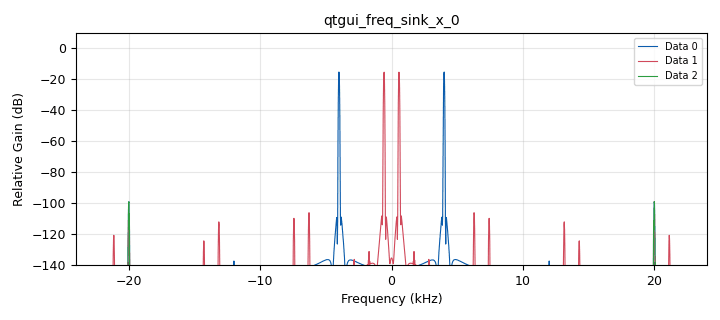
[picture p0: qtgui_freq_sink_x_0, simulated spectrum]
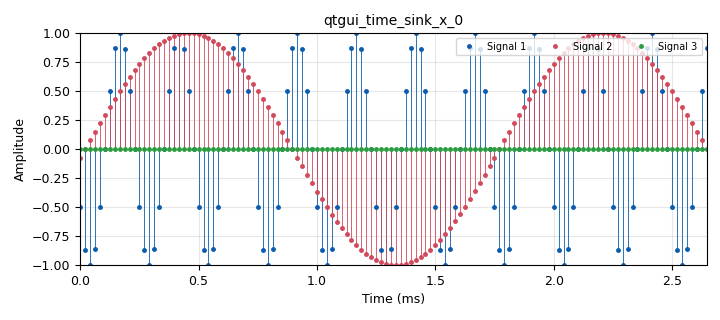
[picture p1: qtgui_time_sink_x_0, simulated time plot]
options:
  parameters:
    author: Brayan_Fonseca_J1B_G5
    generate_options: qt_gui
    id: lab2_comu1_punto_5
    output_language: python
    title: lab2_comu1_punto5
  states: {}

blocks:
- name: freq
  id: variable_qtgui_range
  parameters:
    label: frecuencia
    start: '1000'
    step: '1000'
    stop: '40000'
    value: '4000'
  states: {}
- name: samp_rate
  id: variable
  parameters:
    value: '48000'
  states: {}
- name: analog_sig_source_x_0
  id: analog_sig_source_x
  parameters:
    amp: '1'
    freq: '4000'
    offset: '0'
    phase: '0'
    samp_rate: samp_rate
    type: float
    waveform: analog.GR_COS_WAVE
  states: {}
- name: analog_sig_source_x_0_0
  id: analog_sig_source_x
  parameters:
    amp: '1'
    freq: '4000'
    offset: '0'
    phase: '0'
    samp_rate: samp_rate
    type: float
    waveform: analog.GR_COS_WAVE
  states: {}
- name: analog_sig_source_x_0_1
  id: analog_sig_source_x
  parameters:
    amp: '1'
    freq: '4000'
    offset: '0'
    phase: '0'
    samp_rate: samp_rate
    type: float
    waveform: analog.GR_COS_WAVE
  states: {}
- name: blocks_throttle_0
  id: blocks_throttle
  parameters:
    samples_per_second: samp_rate
    type: float
  states: {}
- name: qtgui_freq_sink_x_0
  id: qtgui_freq_sink_x
  parameters:
    bw: samp_rate
    fc: '0'
    fftsize: '2048'
    nconnections: '3'
    type: float
  states: {}
- name: qtgui_time_sink_x_0
  id: qtgui_time_sink_x
  parameters:
    grid: 'True'
    marker1: '0'
    marker2: '0'
    marker3: '0'
    nconnections: '3'
    size: '128'
    srate: samp_rate
    stemplot: 'True'
    type: float
  states: {}
- name: rational_resampler_xxx_0
  id: rational_resampler_xxx
  parameters:
    decim: '1'
    interp: '1'
    type: fff
  states: {}
- name: rational_resampler_xxx_1
  id: rational_resampler_xxx
  parameters:
    decim: '1'
    interp: '7'
    type: fff
  states: {}
- name: rational_resampler_xxx_2
  id: rational_resampler_xxx
  parameters:
    decim: '7'
    interp: '1'
    type: fff
  states: {}

connections:
- [analog_sig_source_x_0, '0', rational_resampler_xxx_0, '0']
- [analog_sig_source_x_0_0, '0', rational_resampler_xxx_1, '0']
- [analog_sig_source_x_0_1, '0', rational_resampler_xxx_2, '0']
- [blocks_throttle_0, '0', qtgui_freq_sink_x_0, '0']
- [blocks_throttle_0, '0', qtgui_time_sink_x_0, '0']
- [rational_resampler_xxx_0, '0', blocks_throttle_0, '0']
- [rational_resampler_xxx_1, '0', qtgui_freq_sink_x_0, '1']
- [rational_resampler_xxx_1, '0', qtgui_time_sink_x_0, '1']
- [rational_resampler_xxx_2, '0', qtgui_freq_sink_x_0, '2']
- [rational_resampler_xxx_2, '0', qtgui_time_sink_x_0, '2']

metadata:
  file_format: 1
